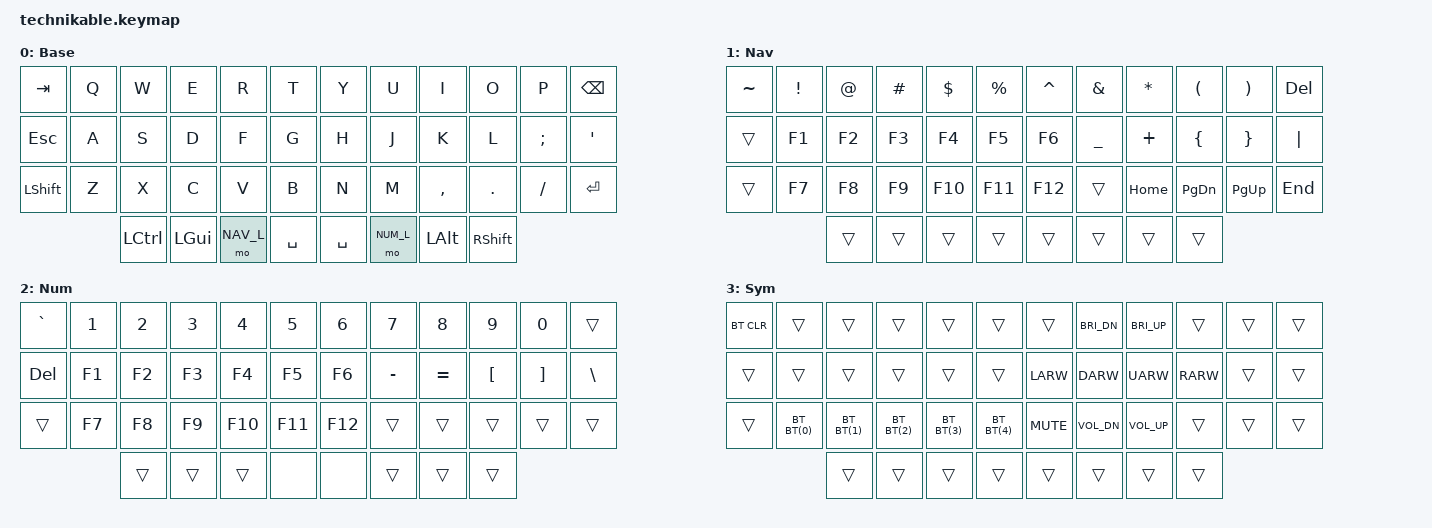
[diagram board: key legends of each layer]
/*
 * Copyright (c) 2022 Pete Johanson
 *
 * SPDX-License-Identifier: MIT
 */

#include <behaviors.dtsi>
#include <dt-bindings/zmk/keys.h>
#include <dt-bindings/zmk/bt.h>
#include <dt-bindings/zmk/outputs.h>

#define TBLE_ORTHO   true
// #define TBLE_MIT     true
// #define TBLE_DUAL_2U true

#define BAS_L 0
#define NAV_L 1
#define NUM_L 2
#define SYM_L 3

// Using layer taps on thumbs, having quick tap as well helps w/ repeating space/backspace
&lt { quick_tap_ms = <200>; };

#define BT(n) BT_SEL n

/ {
    chosen {
       zmk,matrix_transform = &ortho_transform;
    };

    conditional_layers {
        compatible = "zmk,conditional-layers";
	tri_layer {
	    if-layers = <NAV_L NUM_L>;
	    then-layer = <SYM_L>;
	};
    };

    keymap {
        compatible = "zmk,keymap";

        base_layer {
            label = "Base";
            bindings = <
 &kp TAB    &kp Q      &kp W      &kp E       &kp R          &kp T          &kp Y            &kp U          &kp I       &kp O      &kp P         &kp BKSP
 &kp ESC    &kp A      &kp S      &kp D       &kp F          &kp G          &kp H            &kp J          &kp K       &kp L      &kp SEMI      &kp QUOT
 &kp LSHFT  &kp Z      &kp X      &kp C       &kp V          &kp B          &kp N            &kp M          &kp COMMA   &kp DOT    &kp FSLH      &kp RET
                       &kp LCTRL  &kp LGUI    &mo NAV_L      &kp SPACE      &kp SPACE        &mo NUM_L      &kp LALT    &kp RSHFT
            >;
        };

        nav_layer {
            label = "Nav";
            bindings = <
&kp TILDE  &kp EXCL   &kp AT     &kp HASH    &kp DLLR    &kp PRCNT    &kp CARET  &kp AMPS   &kp STAR    &kp LPAR   &kp RPAR   &kp DEL
&trans     &kp F1     &kp F2     &kp F3      &kp F4      &kp F5       &kp F6     &kp UNDER  &kp PLUS    &kp LBRC   &kp RBRC   &kp PIPE
&trans     &kp F7     &kp F8     &kp F9      &kp F10     &kp F11      &kp F12    &trans     &kp HOME    &kp PG_DN  &kp PG_UP  &kp END
                      &trans     &trans      &trans      &trans       &trans     &trans     &trans      &trans
            >;
        };

        num_layer {
            label = "Num";
            bindings = <
&kp GRAVE  &kp N1     &kp N2     &kp N3      &kp N4    &kp N5      &kp N6        &kp N7         &kp N8       &kp N9       &kp N0     &trans
&kp DEL    &kp F1     &kp F2     &kp F3      &kp F4    &kp F5      &kp F6        &kp MINUS      &kp EQUAL    &kp LBKT     &kp RBKT   &kp BSLH
&trans     &kp F7     &kp F8     &kp F9      &kp F10   &kp F11     &kp F12       &trans         &trans       &trans       &trans     &trans
                      &trans     &trans      &trans    &none       &none         &trans         &trans       &trans
            >;
        };

        sym_layer {
            label = "Sym";
            bindings = <
&bt BT_CLR &trans     &trans     &trans      &trans       &trans       &trans      &kp C_BRI_DN  &kp C_BRI_UP    &trans     &trans     &trans 
&trans     &trans     &trans     &trans      &trans       &trans       &kp LARW    &kp DARW      &kp UARW        &kp RARW   &trans     &trans
&trans     &bt BT(0)  &bt BT(1)  &bt BT(2)   &bt BT(3)    &bt BT(4)    &kp K_MUTE  &kp C_VOL_DN  &kp C_VOL_UP    &trans     &trans     &trans
                      &trans     &trans      &trans       &trans       &trans     &trans      &trans        &trans
            >;
        };
       
    };
};

